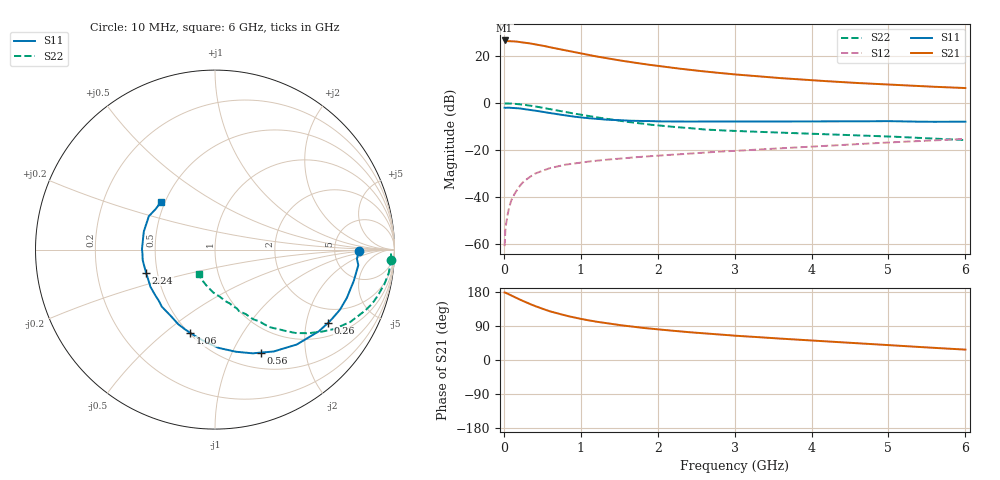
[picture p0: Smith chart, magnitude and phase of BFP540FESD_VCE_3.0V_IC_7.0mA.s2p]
! Infineon Technologies  Discrete & RF Semiconductors
! BFP540FESD
! VCE =  3.0 V,  IC =  7.0 mA
! Common Emitter S-Parameters:  Nov 2015
# GHz  S  MA  R  50
!  f  S11  S21  S12  S22
! GHz  MAG  ANG  MAG  ANG  MAG  ANG  MAG  ANG
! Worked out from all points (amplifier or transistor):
!   210 points, 10 MHz to 6 GHz, reference 50 ohm
!   highest |S21| = 26.7 dB at 10 MHz (marker M1)
!   |S21| within 3 dB of that: start of sweep to 616.5 MHz
!   unconditionally stable (mu >= 1): 2.477 GHz to end of sweep
!   at 185 MHz: K = 0.13, MSG = 31.2 dB, |S12| = -36.2 dB
!   at 1.52 GHz: K = 0.73, MSG = 20.9 dB, |S12| = -23.6 dB
!   at 6 GHz: K = 1.26, MAG = 7.8 dB, |S12| = -15.3 dB
!   S11 on the Smith chart (normalised r, x): 10 MHz: 9.00, -0.35; 260 MHz: 1.43, -2.68; 560 MHz: 0.69, -1.30; 1.06 GHz: 0.51, -0.61; 2.24 GHz: 0.43, -0.13; 6 GHz: 0.48, +0.30
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0.01  0.8003 -0.5  21.56 178.3  0.0009 70.4  0.9837 -3.5
0.02  0.7926 -3.8  20.96 177.8  0.002 73.0  0.9807 -1.5
0.07  0.7978 -8.7  20.82 173.0  0.0061 86.3  0.979 -5.4
0.15  0.7823 -20.1  20.56 165.2  0.0124 80.9  0.9632 -11.5
0.2  0.7725 -25.7  20.08 160.1  0.0167 75.9  0.9457 -15.1
0.26  0.7504 -33.1  19.52 154.8  0.0214 74.4  0.9229 -19.4
0.3  0.736 -38.2  19.16 151.0  0.0241 72.1  0.9038 -22.0
0.4  0.6982 -49.2  17.96 142.7  0.0312 67.8  0.8543 -28.2
0.5  0.6554 -60.0  16.78 135.1  0.0361 63.1  0.7979 -33.7
0.56  0.6288 -65.8  15.96 131.2  0.0392 61.0  0.7649 -36.3
0.6  0.615 -70.0  15.46 128.4  0.0413 59.7  0.7438 -38.1
0.8  0.5481 -87.9  13.26 117.4  0.0489 54.2  0.6459 -46.0
1.02  0.4918 -103.7  11.23 107.9  0.0549 51.1  0.5593 -52.1
1.06  0.4842 -106.6  10.91 106.3  0.056 50.5  0.5454 -53.3
1.22  0.4602 -117.2  9.739 100.6  0.0597 49.0  0.4943 -56.8
1.5  0.4347 -133.0  8.141 92.3  0.0655 46.8  0.4226 -62.8
2.02  0.4081 -155.2  6.138 80.4  0.0764 45.3  0.3327 -72.2
2.24  0.4053 -161.5  5.522 76.4  0.0807 44.9  0.3081 -75.3
3.1  0.4059 178.0  3.963 63.0  0.0982 43.8  0.2519 -87.7
4.1  0.4086 164.2  2.995 50.3  0.1215 41.7  0.2194 -98.5
5.1  0.4099 151.8  2.435 38.1  0.1477 37.0  0.1918 -109.1
6  0.4022 138.4  2.092 27.4  0.1724 31.8  0.1632 -122.2
